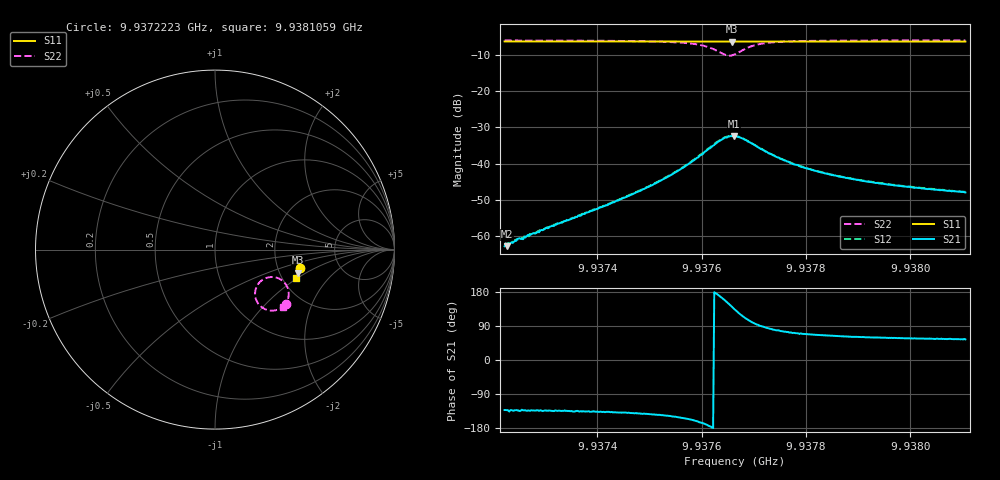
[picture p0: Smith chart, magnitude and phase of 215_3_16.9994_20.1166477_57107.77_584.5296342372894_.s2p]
#  HZ  S  RI  R  50.00
! Rohde & Schwarz Vector Network Analyzer
! Rohde-Schwarz,ZNB20-2Port,1311601062101988,3.16
! Created: UTC 3/20/2024, 11:01:44 PM
! freq[Hz]  re:S11  im:S11  re:S21  im:S21  re:S12  im:S12  re:S22  im:S22
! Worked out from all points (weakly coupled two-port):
!   401 points, 9.9372223 GHz to 9.9381059 GHz, reference 50 ohm
!   highest |S21| = -32.44 dB at 9.9376619 GHz (marker M1); lowest = -62.8 dB at 9.9372267 GHz (marker M2)
!   lowest |S11| = -6.4 dB at 9.9376574 GHz (marker M3), VSWR 2.84, Z = 126 - j42.1 ohm
!   |S11| at or under -10 dB: nowhere
!   |S22| runs from -10.2 to -6.1 dB; largest |S21 - S12| = 0.0011
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9.93722227e9  0.4731 -0.1015  -0.000486 -0.000538  -0.000523 -0.000539  0.3932 -0.3054
9.93722668e9  0.473 -0.1019  -0.000487 -0.000535  -0.000542 -0.000539  0.3929 -0.3056
9.93724657e9  0.4726 -0.1033  -0.00062 -0.000666  -0.00063 -0.000634  0.3911 -0.3073
9.93725761e9  0.4726 -0.1041  -0.000614 -0.000663  -0.000651 -0.000666  0.3904 -0.3082
9.93727087e9  0.4721 -0.1049  -0.000724 -0.00074  -0.000748 -0.000766  0.389 -0.3093
9.93737027e9  0.47 -0.1116  -0.0014 -0.00137  -0.00142 -0.00142  0.3783 -0.3185
9.9374498e9  0.4684 -0.117  -0.00253 -0.00221  -0.00258 -0.00219  0.3649 -0.3273
9.93751828e9  0.4667 -0.1217  -0.00462 -0.00326  -0.00474 -0.00325  0.3434 -0.3363
9.93756688e9  0.4653 -0.1251  -0.00805 -0.004  -0.00828 -0.00395  0.3122 -0.3399
9.93760664e9  0.4636 -0.1275  -0.0144 -0.0028  -0.0148 -0.00255  0.2627 -0.3227
9.93763978e9  0.4618 -0.1288  -0.0207 0.0062  -0.0209 0.00713  0.2233 -0.2415
9.93765745e9  0.4615 -0.1291  -0.0187 0.0148  -0.0183 0.0159  0.2541 -0.1766
9.93766187e9  0.4616 -0.129  -0.017 0.0168  -0.0166 0.0175  0.2693 -0.1655
9.93766408e9  0.4616 -0.1291  -0.0161 0.0174  -0.0157 0.0183  0.2774 -0.1613
9.93769058e9  0.4623 -0.1304  -0.00503 0.0192  -0.00447 0.0196  0.3661 -0.1663
9.93771488e9  0.4624 -0.1321  0.000178 0.0158  0.000627 0.0159  0.4005 -0.2032
9.93774581e9  0.4622 -0.1347  0.00242 0.0119  0.0028 0.0118  0.4108 -0.2386
9.93777453e9  0.4616 -0.1366  0.00319 0.00932  0.0033 0.00953  0.4102 -0.2592
9.93781208e9  0.4607 -0.1395  0.00316 0.00749  0.00332 0.00747  0.4066 -0.2767
9.93787173e9  0.4593 -0.1435  0.003 0.00573  0.00313 0.00572  0.3998 -0.2933
9.93796009e9  0.4572 -0.1493  0.00267 0.00437  0.00275 0.00434  0.391 -0.3076
9.93810589e9  0.4533 -0.1587  0.00232 0.00325  0.00242 0.00327  0.3796 -0.3225
